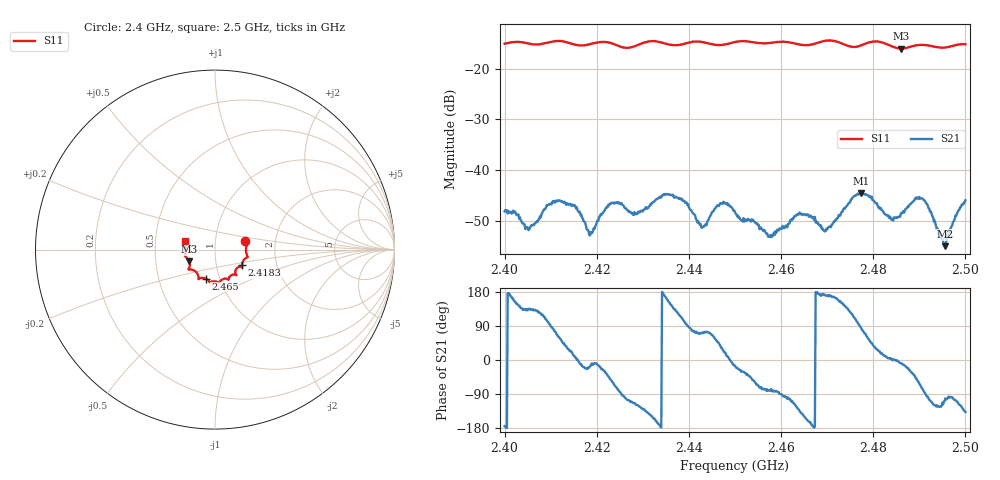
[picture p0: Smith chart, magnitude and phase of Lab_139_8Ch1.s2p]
# Hz S RI R 50
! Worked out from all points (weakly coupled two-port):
!   601 points, 2.4 GHz to 2.5 GHz, reference 50 ohm
!   highest |S21| = -44.48 dB at 2.4773 GHz (marker M1); lowest = -55.0 dB at 2.4957 GHz (marker M2)
!   lowest |S11| = -16.1 dB at 2.486 GHz (marker M3), VSWR 1.37, Z = 37.2 - j4.95 ohm
!   |S11| at or under -10 dB: start of sweep to end of sweep
!   S12 and S22 are empty: the file has one direction only
!   S11 on the Smith chart (normalised r, x): 2.4 GHz: 1.40, +0.13; 2.4183 GHz: 1.33, -0.24; 2.465 GHz: 0.86, -0.29; 2.5 GHz: 0.71, +0.07
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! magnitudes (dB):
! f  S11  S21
! 2.4 GHz  -15.1  -48.1
! 2.405 GHz  -15.0  -51.3
! 2.4108 GHz  -14.6  -46.1
! 2.4167 GHz  -15.5  -48.8
! 2.4183 GHz  -15.2  -52.6
! 2.423 GHz  -15.0  -46.5
! 2.4283 GHz  -15.6  -48.7
! 2.4333 GHz  -14.7  -45.6
! 2.4385 GHz  -15.2  -45.6
! 2.4428 GHz  -14.8  -51.3
! 2.4472 GHz  -15.3  -46.5
! 2.45 GHz  -14.8  -48.2
! 2.4577 GHz  -14.9  -52.7
! 2.465 GHz  -15.4  -48.7
! 2.4667 GHz  -15.3  -49.4
! 2.4697 GHz  -14.5  -52.0
! 2.4773 GHz  -15.5  -44.5
! 2.4833 GHz  -15.3  -49.1
! 2.486 GHz  -16.1  -48.5
! 2.4905 GHz  -15.3  -45.5
! 2.4957 GHz  -15.9  -55.0
! 2.5 GHz  -15.2  -45.9
